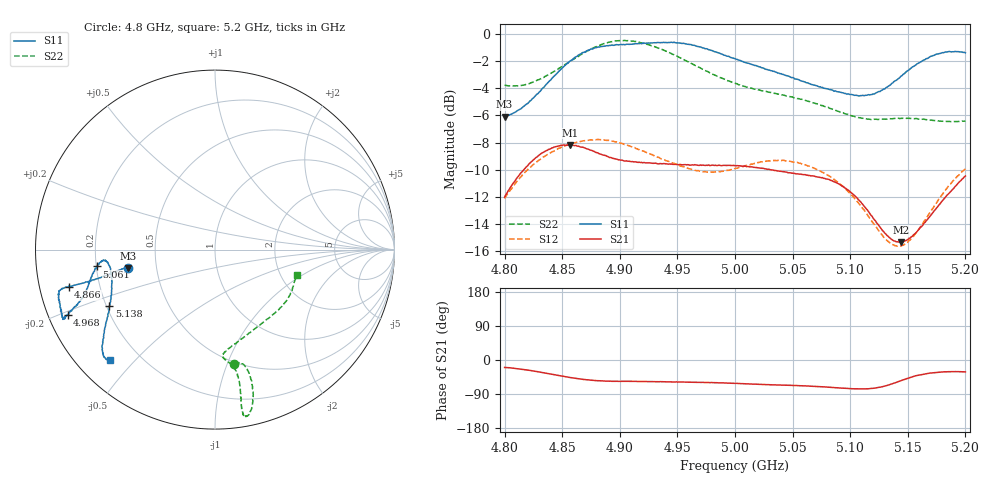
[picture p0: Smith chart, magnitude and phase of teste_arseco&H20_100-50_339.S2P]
! Network Analyzer HP8722D
! Hewlett-Packard
! Data name: Linha & Wilkinson
! Saver's name: Rodrigo Anjos
! Comments: Teste da utilização de aquisição
! continua pelo VNA HP8722D
! Time and date: 6/5/2025 15:23
!  Frequency  S11  S21  S12  S22
# HZ  S  MA R 50
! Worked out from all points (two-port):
!   401 points, 4.8 GHz to 5.2 GHz, reference 50 ohm
!   highest |S21| = -8.17 dB at 4.857 GHz (marker M1); lowest = -15.3 dB at 5.144 GHz (marker M2)
!   |S21| within 3 dB of the highest: 4.806 GHz to 5.092 GHz (286.4 MHz wide, 5.79 % of centre); 5.191826 GHz to end of sweep
!   lowest |S11| = -6.1 dB at 4.8 GHz (marker M3), VSWR 2.97, Z = 17 - j4.6 ohm
!   |S11| at or under -10 dB: nowhere
!   |S22| runs from -6.5 to -0.5 dB; largest |S21 - S12| = 0.62
!   S11 on the Smith chart (normalised r, x): 4.8 GHz: 0.34, -0.09; 4.866 GHz: 0.09, -0.12; 4.968 GHz: 0.06, -0.21; 5.061 GHz: 0.20, -0.07; 5.138 GHz: 0.21, -0.24; 5.2 GHz: 0.09, -0.43
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4.8e9  0.4962 -168.1  0.251 -19.7  0.2482 -140.7  0.6485 -80.4
4.83e9  0.6107 -166.8  0.3577 -31.6  0.3433 -145.1  0.6791 -75.2
4.857e9  0.7956 -165.8  0.3905 -46.3  0.393 -150.1  0.7928 -74.7
4.866e9  0.8417 -165.7  0.3832 -50.3  0.4022 -151.8  0.8377 -75.2
4.867e9  0.8497 -165.7  0.3833 -50.8  0.403 -151.9  0.843 -75.4
4.883e9  0.8969 -165.1  0.3613 -54.9  0.4081 -154.7  0.9088 -77.0
4.9e9  0.9123 -162.6  0.344 -56.2  0.3969 -156.4  0.9434 -79.1
4.934e9  0.9287 -156.4  0.3327 -57.5  0.3513 -155.6  0.8836 -80.5
4.968e9  0.8981 -156.2  0.3287 -59.0  0.3142 -147.6  0.7553 -79.6
5e9  0.8106 -158.9  0.3275 -61.7  0.3199 -137.2  0.6583 -81.2
5.035e9  0.724 -165.2  0.3146 -65.6  0.3423 -134.2  0.604 -85.6
5.061e9  0.6644 -171.9  0.3036 -68.3  0.33 -136.3  0.5698 -84.0
5.067e9  0.6507 -173.1  0.3006 -69.1  0.3229 -136.7  0.5584 -82.6
5.087e9  0.617 -174.3  0.2849 -73.1  0.2895 -138.5  0.5238 -74.9
5.104e9  0.5941 -170.9  0.2537 -76.1  0.2477 -138.4  0.4961 -64.7
5.119e9  0.5985 -163.7  0.2133 -75.0  0.2039 -134.0  0.4845 -53.5
5.134e9  0.6458 -154.2  0.1782 -65.3  0.1708 -120.7  0.4879 -43.3
5.138e9  0.6677 -151.8  0.1733 -61.0  0.1673 -115.7  0.4883 -41.0
5.144e9  0.6985 -148.8  0.1712 -54.7  0.1658 -107.6  0.4891 -37.5
5.154e9  0.7555 -144.5  0.1803 -44.4  0.1788 -95.1  0.4886 -32.4
5.174e9  0.8391 -138.5  0.2261 -32.9  0.2364 -80.4  0.4797 -23.9
5.2e9  0.8516 -133.6  0.3001 -31.3  0.3188 -76.7  0.4775 -17.6
